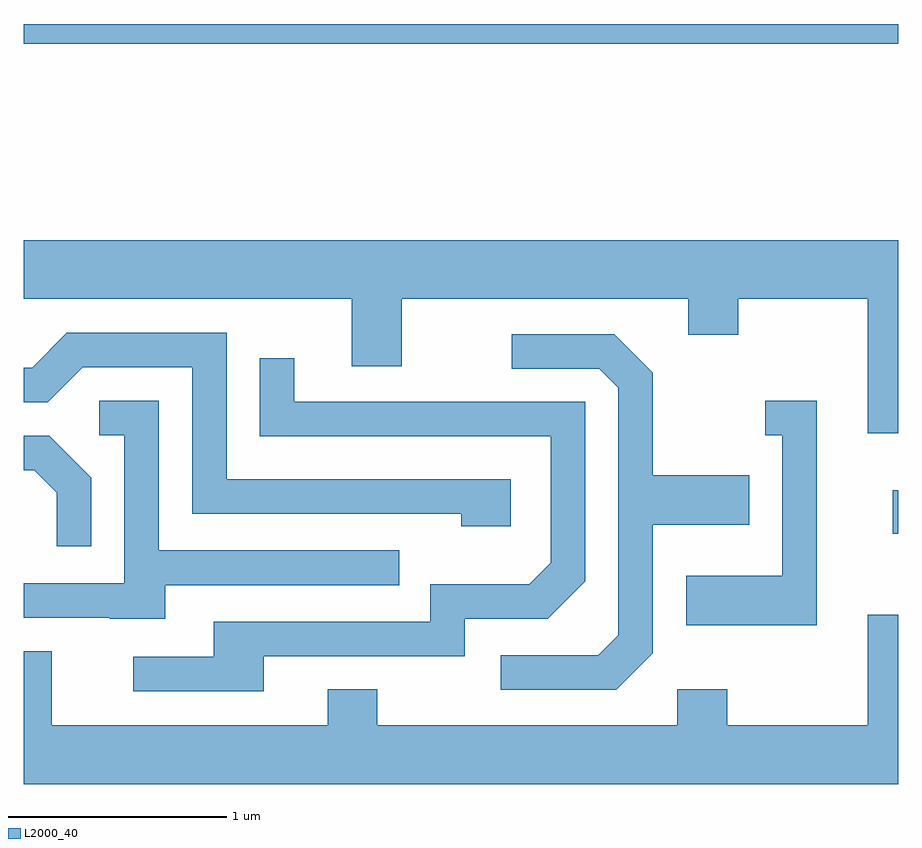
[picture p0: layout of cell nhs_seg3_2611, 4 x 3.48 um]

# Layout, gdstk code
import gdstk
lib = gdstk.Library(unit=1e-6, precision=1e-09)
def R(c, l, rs):  # rectangles x0, y0, x1, y1
    for r in rs: c.add(gdstk.rectangle(r[:2], r[2:], *l))
def P(c, l, *ps):  # polygons
    for p in ps: c.add(gdstk.Polygon(p, *l))
L2000_40 = (2000, 40)

nhs_seg3_2611 = lib.new_cell('nhs_seg3_2611')
R(nhs_seg3_2611, L2000_40, [(265.586,1171.561,265.611,1171.759), (261.611,1173.801,265.611,1173.892)])
P(nhs_seg3_2611, L2000_40, [(265.611,1172.904),(261.611,1172.904),(261.611,1172.636),(263.111,1172.636),(263.111,1172.326),(263.339,1172.326),(263.339,1172.636),(264.651,1172.636),(264.651,1172.471),(264.879,1172.471),(264.879,1172.636),(265.471,1172.636),(265.471,1172.021),(265.611,1172.021)],
  [(263.839,1171.809),(262.539,1171.809),(262.539,1172.479),(261.808,1172.479),(261.649,1172.319),(261.611,1172.319),(261.611,1172.161),(261.722,1172.161),(261.882,1172.321),(262.381,1172.321),(262.381,1171.651),(263.611,1171.651),(263.611,1171.596),(263.839,1171.596)],
  [(264.489,1171.014),(264.489,1171.601),(264.929,1171.601),(264.929,1171.829),(264.489,1171.829),(264.489,1172.297),(264.312,1172.474),(263.843,1172.474),(263.843,1172.316),(264.244,1172.316),(264.331,1172.229),(264.331,1171.097),(264.239,1171.004),(263.793,1171.004),(263.793,1170.846),(264.322,1170.846)],
  [(262.709,1171.001),(263.629,1171.001),(263.629,1171.171),(264.007,1171.171),(264.179,1171.344),(264.179,1172.164),(262.849,1172.164),(262.849,1172.363),(262.691,1172.363),(262.691,1172.006),(264.021,1172.006),(264.021,1171.427),(263.924,1171.329),(263.471,1171.329),(263.471,1171.159),(262.481,1171.159),(262.481,1170.999),(262.113,1170.999),(262.113,1170.841),(262.709,1170.841)],
  [(265.239,1172.169),(265.003,1172.169),(265.003,1172.011),(265.081,1172.011),(265.081,1171.369),(264.641,1171.369),(264.641,1171.141),(265.239,1171.141)],
  [(262.259,1171.326),(263.328,1171.326),(263.328,1171.484),(262.229,1171.484),(262.229,1172.169),(261.957,1172.169),(261.957,1172.011),(262.071,1172.011),(262.071,1171.334),(261.611,1171.334),(261.611,1171.176),(262.005,1171.176),(262.005,1171.171),(262.259,1171.171)],
  [(261.919,1171.817),(261.727,1172.009),(261.611,1172.009),(261.611,1171.851),(261.659,1171.851),(261.761,1171.749),(261.761,1171.503),(261.919,1171.503)],
  [(261.611,1171.024),(261.611,1170.416),(265.611,1170.416),(265.611,1171.189),(265.471,1171.189),(265.471,1170.684),(264.829,1170.684),(264.829,1170.849),(264.601,1170.849),(264.601,1170.684),(263.229,1170.684),(263.229,1170.849),(263.001,1170.849),(263.001,1170.684),(261.739,1170.684),(261.739,1171.024)])

lib.write_gds('nhs_seg3_2611.gds')
